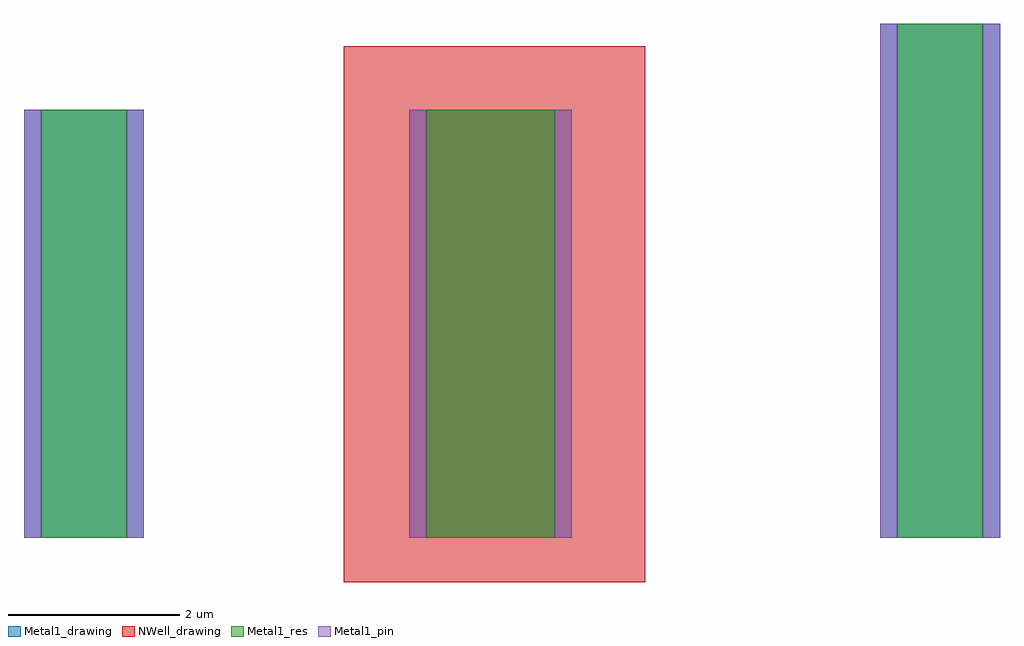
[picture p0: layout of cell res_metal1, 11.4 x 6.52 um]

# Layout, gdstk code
import gdstk
lib = gdstk.Library(unit=1e-6, precision=1e-09)
def R(c, l, rs):  # rectangles x0, y0, x1, y1
    for r in rs: c.add(gdstk.rectangle(r[:2], r[2:], *l))
Metal1_drawing = (8, 0)
Metal1_pin = (8, 2)
Metal1_res = (8, 29)
NWell_drawing = (31, 0)

res_metal1 = lib.new_cell('res_metal1')
R(res_metal1, Metal1_drawing, [(-0.7,0,0.7,5), (-0.5,0,0.5,5), (3.8,0,5.2,5), (4.7,0,5.7,5), (9.3,0,10.7,6), (9.5,0,10.5,6)])
R(res_metal1, Metal1_pin, [(-0.7,0,-0.5,5), (0.5,0,0.7,5), (3.8,0,4,5), (5.5,0,5.7,5), (9.3,0,9.5,6), (10.5,0,10.7,6)])
R(res_metal1, Metal1_res, [(-0.5,0,0.5,5), (4,0,5.5,5), (9.5,0,10.5,6)])
R(res_metal1, NWell_drawing, [(3.032,-0.519,6.556,5.737)])

lib.write_gds('res_metal1.gds')
